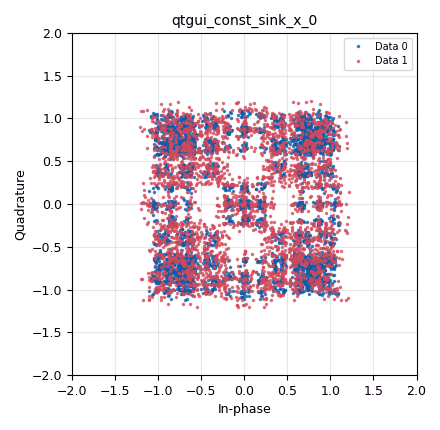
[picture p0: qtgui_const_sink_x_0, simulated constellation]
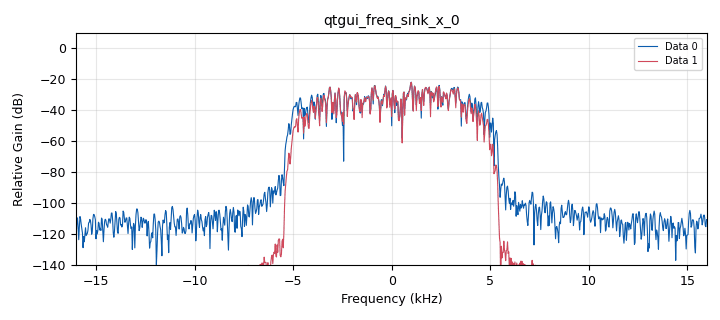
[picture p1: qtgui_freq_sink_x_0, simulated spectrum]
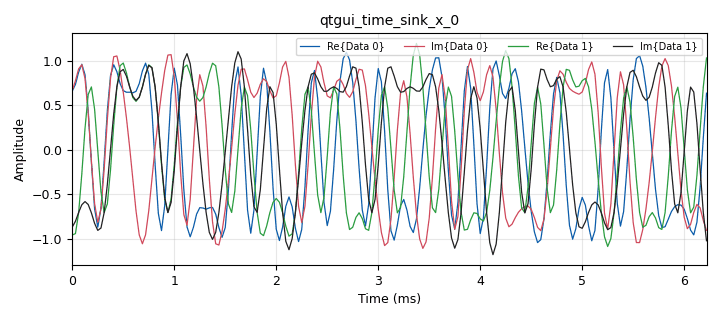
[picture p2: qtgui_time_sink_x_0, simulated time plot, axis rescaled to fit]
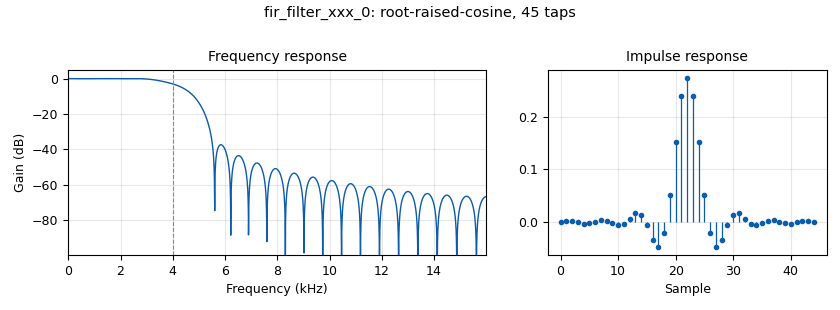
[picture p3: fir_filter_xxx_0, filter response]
options:
  parameters:
    author: David Venegas
    description: Simulation for MPSK Receiver
    generate_options: qt_gui
    id: Stage1_Transmitting_Signal
    output_language: python
    title: Transmitting_Signal
  states: {}

blocks:
- name: QPSK
  id: variable_constellation_rect
  parameters:
    const_points: '[-0.707-0.707j, -0.707+0.707j, 0.707+0.707j, 0.707-0.707j]'
    imag_sect: '2'
    real_sect: '2'
    rot_sym: '4'
    sym_map: '[0, 1, 2, 3]'
    w_imag_sect: '1'
    w_real_sect: '1'
  states: {}
- name: excess_bw
  id: variable
  parameters:
    value: '0.35'
  states: {}
- name: root_raise_cosine
  id: variable
  parameters:
    value: firdes.root_raised_cosine(1.0,samp_rate,samp_rate/sps,excess_bw,11*sps)
  states: {}
- name: samp_rate
  id: variable
  parameters:
    value: '32000'
  states: {}
- name: sps
  id: variable
  parameters:
    value: '4'
  states: {}
- name: analog_random_source_x_0
  id: analog_random_source_x
  parameters:
    max: '255'
    min: '0'
    num_samps: '10000'
    repeat: 'True'
    type: byte
  states: {}
- name: blocks_throttle_0
  id: blocks_throttle
  parameters:
    samples_per_second: samp_rate
    type: complex
  states: {}
- name: digital_constellation_modulator_0
  id: digital_constellation_modulator
  parameters:
    constellation: QPSK
    differential: 'True'
    excess_bw: '0.35'
    samples_per_symbol: '4'
  states: {}
- name: fir_filter_xxx_0
  id: fir_filter_xxx
  parameters:
    decim: '1'
    taps: root_raise_cosine
    type: ccc
  states: {}
- name: qtgui_const_sink_x_0
  id: qtgui_const_sink_x
  parameters:
    nconnections: '2'
    size: '4096'
    type: complex
  states: {}
- name: qtgui_freq_sink_x_0
  id: qtgui_freq_sink_x
  parameters:
    bw: samp_rate
    fc: '0'
    fftsize: '1024'
    nconnections: '2'
    type: complex
    wintype: firdes.WIN_BLACKMAN_hARRIS
  states: {}
- name: qtgui_time_sink_x_0
  id: qtgui_time_sink_x
  parameters:
    nconnections: '2'
    size: '200'
    srate: samp_rate
    type: complex
  states: {}

connections:
- [analog_random_source_x_0, '0', digital_constellation_modulator_0, '0']
- [blocks_throttle_0, '0', fir_filter_xxx_0, '0']
- [blocks_throttle_0, '0', qtgui_const_sink_x_0, '0']
- [blocks_throttle_0, '0', qtgui_freq_sink_x_0, '0']
- [blocks_throttle_0, '0', qtgui_time_sink_x_0, '0']
- [digital_constellation_modulator_0, '0', blocks_throttle_0, '0']
- [fir_filter_xxx_0, '0', qtgui_const_sink_x_0, '1']
- [fir_filter_xxx_0, '0', qtgui_freq_sink_x_0, '1']
- [fir_filter_xxx_0, '0', qtgui_time_sink_x_0, '1']

metadata:
  file_format: 1
